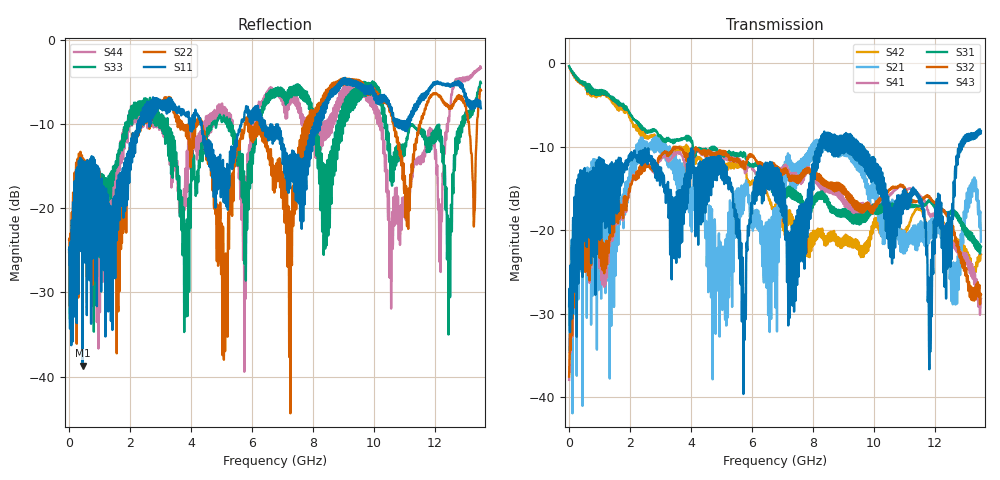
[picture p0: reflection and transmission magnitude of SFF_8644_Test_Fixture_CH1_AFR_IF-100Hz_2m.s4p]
!Keysight Technologies,N5231B,MY57181281,A.17.25.05
!Date: Friday, March 07, 2025 17:15:28
!Correction: S11(C  4-Port  )
!S12(C  4-Port  )
!S13(C  4-Port  )
!S14(C  4-Port  )
!S21(C  4-Port  )
!S22(C  4-Port  )
!S23(C  4-Port  )
!S24(C  4-Port  )
!S31(C  4-Port  )
!S32(C  4-Port  )
!S33(C  4-Port  )
!S34(C  4-Port  )
!S41(C  4-Port  )
!S42(C  4-Port  )
!S43(C  4-Port  )
!S44(C  4-Port  )
!S4P File: Measurements: <S11,S12,S13,S14>,
!<S21,S22,S23,S24>,
!<S31,S32,S33,S34>,
!<S41,S42,S43,S44>:
# Hz S  dB  R 50
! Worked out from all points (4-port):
!   1350 points, 10 MHz to 13.5 GHz, reference 50 ohm
!   strongest paths, dB at 10 MHz, 3.38 GHz, 6.76 GHz, 10.13 GHz, 13.5 GHz:
!     S43: -29.0, -18.1, -16.4, -12.6, -8.2
!     S32: -37.5, -10.5, -12.6, -16.6, -27.6
!     S31: -0.3, -9.4, -15.4, -17.8, -21.9
!     S41: -37.9, -11.3, -12.9, -17.0, -28.2
!     S21: -29.2, -11.6, -19.7, -15.6, -21.4
!     S42: -0.4, -11.5, -17.3, -19.5, -22.9
!   lowest |S11| = -38.7 dB at 450 MHz (marker M1), VSWR 1.02, Z = 50.5 - j1.07 ohm
!   |S11| at or under -10 dB: start of sweep to 2.28 GHz; 4.351 GHz to 5.65 GHz (1.3 GHz wide, 26 % of centre); 6.429 GHz to 8.039 GHz (1.61 GHz wide, 22.3 % of centre)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
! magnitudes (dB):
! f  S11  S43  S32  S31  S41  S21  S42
! 10 MHz  -24.9  -29.0  -37.5  -0.3  -37.9  -29.2  -0.4
! 450 MHz  -38.7  -25.6  -23.2  -2.2  -23.2  -41.0  -2.3
! 4.3 GHz  -9.3  -13.1  -10.7  -10.2  -10.8  -14.9  -11.3
! 5.14 GHz  -15.7  -14.3  -10.8  -10.8  -11.1  -21.1  -12.0
! 9.13 GHz  -5.0  -8.5  -16.0  -18.2  -17.2  -10.2  -21.4
! 11.83 GHz  -5.8  -28.3  -16.1  -16.5  -18.2  -19.3  -19.3
! 13.5 GHz  -8.1  -8.2  -27.6  -21.9  -28.2  -21.4  -22.9
